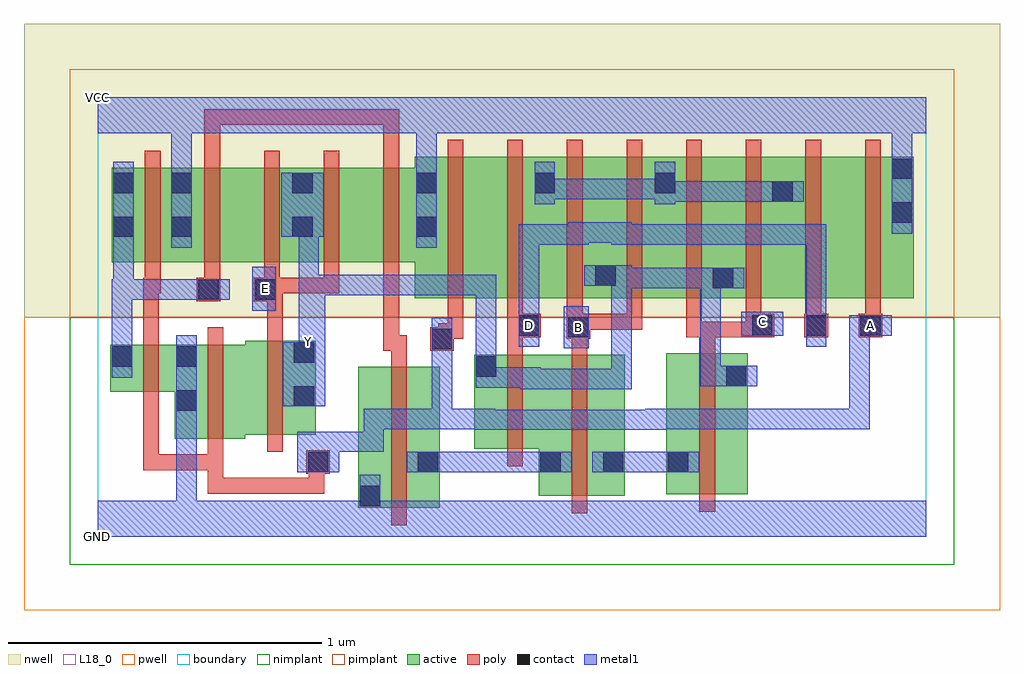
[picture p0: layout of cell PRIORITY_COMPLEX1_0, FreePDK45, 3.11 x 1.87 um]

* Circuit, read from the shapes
.subckt PRIORITY_COMPLEX1_0 A B C D E GND VCC Y
M1 GND A n1 VSUBS nfet w=0.15u l=0.05u
M2 n2 A GND VSUBS nfet w=0.3u l=0.05u
M3 Y E n2 VSUBS nfet w=0.3u l=0.05u
M4 n3 n1 GND VSUBS nfet w=0.45u l=0.05u
M5 n3 D Y VSUBS nfet w=0.3u l=0.05u
M6 n4 B n3 VSUBS nfet w=0.45u l=0.05u
M7 Y C n4 VSUBS nfet w=0.45u l=0.05u
M8 VCC A n1 n5 pfet w=0.3u l=0.05u
M9 n6 n1 VCC n5 pfet w=0.3u l=0.05u
M10 Y E n6 n5 pfet w=0.3u l=0.05u
M11 n7 E Y n5 pfet w=0.3u l=0.05u
M12 VCC n1 n7 n5 pfet w=0.3u l=0.05u
M13 n8 A VCC n5 pfet w=0.45u l=0.05u
M14 n9 D n8 n5 pfet w=0.45u l=0.05u
M15 Y B n9 n5 pfet w=0.45u l=0.05u m=2
M16 Y C n9 n5 pfet w=0.45u l=0.05u m=2
M17 n10 D n9 n5 pfet w=0.45u l=0.05u
M18 VCC A n10 n5 pfet w=0.45u l=0.05u
.ends

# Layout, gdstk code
import gdstk
lib = gdstk.Library(unit=1e-6, precision=1e-09)
def R(c, l, rs):  # rectangles x0, y0, x1, y1
    for r in rs: c.add(gdstk.rectangle(r[:2], r[2:], *l))
def A(c, l, x, y, w, h, nx, ny, dx, dy):  # array of equal rectangles
    R(c, l, [(x+i*dx, y+j*dy, x+i*dx+w, y+j*dy+h) for i in range(nx) for j in range(ny)])
active = (1, 0)
pwell = (2, 0)
nwell = (3, 0)
nimplant = (4, 0)
pimplant = (5, 0)
poly = (9, 0)
contact = (10, 0)
metal1 = (11, 0)
L18_0 = (18, 0)
boundary = (235, 0)

priority_complex1_0 = lib.new_cell('PRIORITY_COMPLEX1_0')
R(priority_complex1_0, active, [(0.83,0.092,1.09,0.542), (0.83,0.092,0.905,0.542), (1.405,0.13,1.68,0.58), (1.812,0.135,2.072,0.585), (1.015,0.195,1.09,0.542), (1.605,0.195,1.68,0.542), (1.812,0.195,1.887,0.585), (1.997,0.195,2.072,0.585), (1.405,0.2,1.48,0.535), (1.2,0.28,1.48,0.58), (0.245,0.312,0.47,0.612), (0.47,0.325,0.695,0.625), (0.62,0.345,0.695,0.625), (1.2,0.345,1.275,0.58), (0.245,0.397,0.32,0.612), (0.04,0.462,0.32,0.612), (0.04,0.462,0.115,0.612), (1.01,0.76,1.235,1.21), (1.235,0.76,1.462,1.21), (1.387,0.76,1.655,1.21), (1.58,0.76,1.845,1.21), (1.77,0.76,2.03,1.21), (1.955,0.76,2.22,1.21), (2.145,0.76,2.375,1.21), (2.375,0.76,2.6,1.21), (2.525,0.76,2.6,1.21), (1.955,0.787,2.03,0.94), (1.58,0.795,1.655,0.94), (1.387,0.852,1.462,1.2), (1.77,0.857,1.845,1.2), (2.145,0.857,2.22,1.2), (0.045,0.875,0.12,1.165), (0.045,0.875,0.305,1.175), (0.23,0.875,0.46,1.175), (0.46,0.875,0.69,1.175), (0.615,0.875,0.84,1.175), (0.615,0.875,0.69,1.175), (0.84,0.875,1.085,1.175), (1.01,0.875,1.085,1.165), (0.23,0.95,0.305,1.165)])
R(priority_complex1_0, pwell, [(-0.235,-0.235,2.875,0.7)])
R(priority_complex1_0, nwell, [(-0.235,0.7,2.875,1.635)])
R(priority_complex1_0, nimplant, [(-0.09,-0.09,2.73,0.7)])
R(priority_complex1_0, pimplant, [(-0.09,0.7,2.73,1.49)])
A(priority_complex1_0, poly, 1.305, 0.66, 0.05, 0.095, 3, 1, 0.19, 0)
A(priority_complex1_0, poly, 2.065, 0.66, 0.05, 0.095, 3, 1, 0.19, 0)
A(priority_complex1_0, poly, 1.115, 0.705, 0.05, 0.56, 8, 1, 0.19, 0)
A(priority_complex1_0, poly, 0.15, 0.775, 0.05, 0.095, 4, 1, 0.19, 0)
A(priority_complex1_0, poly, 0.15, 0.82, 0.05, 0.41, 5, 1, 0.19, 0)
R(priority_complex1_0, poly, [(0.935,0.037,0.985,0.597), (1.51,0.075,1.56,0.635), (1.917,0.08,1.967,0.64), (0.35,0.137,0.4,0.262), (0.35,0.137,0.532,0.187), (0.482,0.137,0.532,0.187), (0.482,0.137,0.532,0.187), (0.482,0.137,0.532,0.187), (0.482,0.137,0.722,0.187), (0.672,0.137,0.722,0.187), (0.672,0.137,0.722,0.187), (0.672,0.137,0.722,0.187), (0.672,0.137,0.722,0.25), (0.665,0.2,0.74,0.275), (0.145,0.212,0.195,0.262), (0.145,0.212,0.195,0.262), (0.145,0.212,0.195,0.262), (0.145,0.212,0.195,0.262), (0.145,0.212,0.195,0.262), (0.145,0.212,0.4,0.262), (0.145,0.212,0.195,0.457), (0.35,0.212,0.4,0.307), (1.305,0.225,1.355,0.635), (0.35,0.257,0.4,0.667), (0.54,0.27,0.59,0.68), (0.145,0.407,0.195,0.667), (0.935,0.547,0.985,0.642), (1.305,0.585,1.355,0.685), (1.51,0.585,1.56,0.68), (1.917,0.59,1.967,0.685), (0.91,0.592,0.96,0.87), (0.91,0.592,0.985,0.642), (1.06,0.592,1.135,0.667), (0.145,0.617,0.195,0.825), (1.085,0.617,1.135,0.68), (0.54,0.63,0.59,0.8), (1.085,0.63,1.135,0.68), (1.085,0.63,1.135,0.68), (1.085,0.63,1.165,0.68), (1.115,0.63,1.165,0.755), (1.495,0.63,1.57,0.71), (1.305,0.635,1.412,0.71), (1.875,0.635,1.925,0.755), (1.875,0.635,1.967,0.685), (1.917,0.635,2.115,0.685), (2.065,0.635,2.115,0.685), (2.065,0.635,2.115,0.685), (2.065,0.635,2.155,0.71), (2.252,0.635,2.327,0.71), (2.425,0.635,2.5,0.71), (1.52,0.66,1.57,0.71), (1.52,0.66,1.57,0.71), (1.52,0.66,1.735,0.71), (1.685,0.66,1.735,0.71), (0.315,0.75,0.39,0.825), (0.497,0.75,0.59,0.825), (0.145,0.775,0.2,0.825), (0.54,0.775,0.77,0.825), (0.72,0.775,0.77,0.825), (0.72,0.775,0.77,0.825), (0.72,0.775,0.77,0.825), (0.34,1.18,0.39,1.362), (0.91,1.18,0.96,1.362), (0.34,1.312,0.39,1.362), (0.34,1.312,0.532,1.362), (0.482,1.312,0.532,1.362), (0.482,1.312,0.532,1.362), (0.482,1.312,0.532,1.362), (0.482,1.312,0.722,1.362), (0.672,1.312,0.722,1.362), (0.672,1.312,0.722,1.362), (0.672,1.312,0.722,1.362), (0.672,1.312,0.96,1.362), (0.91,1.312,0.96,1.362), (0.91,1.312,0.96,1.362), (0.91,1.312,0.96,1.362)])
R(priority_complex1_0, contact, [(0.835,0.097,0.9,0.162), (0.67,0.205,0.735,0.27), (1.02,0.205,1.085,0.27), (1.41,0.205,1.475,0.27), (1.61,0.205,1.675,0.27), (1.817,0.205,1.882,0.27), (0.25,0.402,0.315,0.467), (0.625,0.415,0.69,0.48), (2.002,0.48,2.067,0.545), (1.205,0.51,1.27,0.575), (0.045,0.542,0.11,0.607), (0.25,0.542,0.315,0.607), (0.625,0.555,0.69,0.62), (1.065,0.597,1.13,0.662), (1.5,0.635,1.565,0.7), (1.342,0.64,1.407,0.705), (2.085,0.64,2.15,0.705), (2.257,0.64,2.322,0.705), (2.43,0.64,2.495,0.705), (0.32,0.755,0.385,0.82), (0.502,0.755,0.567,0.82), (1.96,0.792,2.025,0.857), (1.585,0.8,1.65,0.865), (0.05,0.955,0.115,1.02), (0.235,0.955,0.3,1.02), (0.62,0.955,0.685,1.02), (1.015,0.955,1.08,1.02), (2.53,1,2.595,1.065), (2.15,1.067,2.215,1.132), (0.05,1.095,0.115,1.16), (0.235,1.095,0.3,1.16), (0.62,1.095,0.685,1.16), (1.015,1.095,1.08,1.16), (1.392,1.095,1.457,1.16), (1.775,1.095,1.84,1.16), (2.53,1.14,2.595,1.205)])
R(priority_complex1_0, metal1, [(0,0,2.64,0.115), (0.25,0.05,0.315,0.115), (0.25,0.05,0.315,0.115), (0.25,0.05,0.315,0.115), (0.25,0.05,0.315,0.115), (0.25,0.05,0.315,0.432), (0.835,0.05,0.9,0.115), (0.835,0.05,0.9,0.115), (0.835,0.05,0.9,0.127), (0.835,0.062,0.9,0.197), (0.635,0.205,0.77,0.335), (0.985,0.205,1.12,0.27), (1.055,0.205,1.12,0.27), (1.055,0.205,1.12,0.27), (1.055,0.205,1.27,0.27), (1.205,0.205,1.27,0.27), (1.205,0.205,1.27,0.27), (1.205,0.205,1.27,0.27), (1.205,0.205,1.44,0.27), (1.375,0.205,1.51,0.27), (1.575,0.205,1.71,0.27), (1.645,0.205,1.71,0.27), (1.645,0.205,1.71,0.27), (1.645,0.205,1.847,0.27), (1.782,0.205,1.917,0.27), (0.705,0.27,0.912,0.335), (0.847,0.27,0.912,0.335), (0.847,0.27,0.912,0.407), (1.202,0.34,1.267,0.405), (1.202,0.34,1.267,0.405), (1.202,0.34,1.267,0.407), (1.202,0.34,1.477,0.405), (1.412,0.34,1.477,0.405), (1.412,0.34,1.565,0.405), (1.5,0.34,1.565,0.405), (1.5,0.34,1.702,0.405), (1.637,0.34,1.702,0.405), (1.637,0.34,1.81,0.405), (1.745,0.34,1.81,0.407), (0.847,0.342,0.912,0.407), (0.847,0.342,0.912,0.407), (0.847,0.342,0.912,0.407), (0.847,0.342,1.13,0.407), (1.065,0.342,1.13,0.407), (1.065,0.342,1.13,0.407), (1.065,0.342,1.267,0.407), (1.065,0.342,1.13,0.697), (1.745,0.342,1.847,0.407), (1.782,0.342,1.847,0.407), (1.782,0.342,1.977,0.407), (1.912,0.342,1.977,0.407), (1.912,0.342,2.042,0.407), (1.977,0.342,2.042,0.407), (1.977,0.342,2.135,0.407), (2.07,0.342,2.135,0.407), (2.07,0.342,2.322,0.407), (2.257,0.342,2.322,0.407), (2.257,0.342,2.322,0.407), (2.257,0.342,2.322,0.407), (2.257,0.342,2.322,0.407), (2.257,0.342,2.322,0.407), (2.257,0.342,2.46,0.407), (2.395,0.342,2.46,0.407), (2.395,0.342,2.46,0.705), (0.25,0.367,0.315,0.642), (0.59,0.415,0.725,0.62), (1.347,0.47,1.565,0.535), (1.347,0.47,1.412,0.54), (1.5,0.47,1.565,0.535), (1.5,0.47,1.702,0.535), (1.637,0.47,1.702,0.535), (1.637,0.47,1.702,0.545), (1.205,0.475,1.27,0.54), (1.205,0.475,1.27,0.54), (1.205,0.475,1.412,0.54), (1.205,0.475,1.27,0.835), (1.637,0.48,1.702,0.545), (1.637,0.48,1.702,0.865), (1.92,0.48,1.985,0.857), (1.92,0.48,2.102,0.545), (0.045,0.507,0.11,0.642), (0.64,0.555,0.705,0.62), (0.64,0.555,0.705,0.69), (0.66,0.555,0.725,0.62), (0.66,0.555,0.725,0.835), (0.045,0.577,0.11,0.82), (1.485,0.6,1.565,0.735), (1.342,0.605,1.407,0.74), (2.257,0.605,2.322,0.74), (0.64,0.625,0.705,1.02), (2.05,0.64,2.185,0.717), (2.395,0.64,2.46,0.705), (2.395,0.64,2.46,0.705), (2.395,0.64,2.53,0.705), (1.342,0.675,1.407,0.74), (1.342,0.675,1.407,0.74), (1.342,0.675,1.407,0.74), (1.342,0.675,1.407,0.74), (1.342,0.675,1.407,0.995), (2.257,0.675,2.322,0.74), (2.257,0.675,2.322,0.74), (2.257,0.675,2.322,0.74), (2.257,0.675,2.322,0.74), (2.257,0.675,2.322,0.995), (0.492,0.72,0.567,0.86), (0.045,0.755,0.115,0.82), (0.05,0.755,0.115,0.82), (0.05,0.755,0.115,0.82), (0.05,0.755,0.35,0.82), (0.05,0.755,0.115,0.985), (0.285,0.755,0.35,0.82), (0.285,0.755,0.35,0.82), (0.285,0.755,0.42,0.82), (0.66,0.77,0.912,0.835), (0.847,0.77,0.912,0.835), (0.847,0.77,0.912,0.835), (0.847,0.77,0.912,0.835), (0.847,0.77,1.13,0.835), (1.065,0.77,1.13,0.835), (1.065,0.77,1.13,0.835), (1.065,0.77,1.13,0.835), (1.065,0.77,1.27,0.835), (1.637,0.792,1.847,0.857), (1.637,0.792,1.702,0.865), (1.782,0.792,1.847,0.857), (1.782,0.792,1.977,0.857), (1.912,0.792,1.977,0.857), (1.912,0.792,1.985,0.857), (1.92,0.792,1.985,0.857), (1.92,0.792,1.985,0.857), (1.92,0.792,2.06,0.857), (1.55,0.8,1.702,0.865), (1.637,0.8,1.702,0.865), (0.05,0.92,0.115,1.195), (0.235,0.92,0.3,1.195), (1.015,0.92,1.08,1.195), (1.342,0.93,1.407,0.995), (1.342,0.93,1.565,0.995), (1.5,0.93,1.565,1.002), (1.637,0.93,1.847,0.995), (1.637,0.93,1.702,1.002), (1.782,0.93,1.847,0.995), (1.782,0.93,1.977,0.995), (1.912,0.93,1.977,0.995), (1.912,0.93,1.985,0.995), (1.92,0.93,1.985,0.995), (1.92,0.93,2.167,0.995), (2.102,0.93,2.167,0.995), (2.102,0.93,2.322,0.995), (2.257,0.93,2.322,0.995), (1.5,0.937,1.702,1.002), (1.637,0.937,1.702,1.002), (1.637,0.937,1.702,1.002), (0.585,0.955,0.72,1.16), (2.53,0.965,2.595,1.24), (1.392,1.06,1.457,1.195), (1.775,1.06,1.84,1.195), (1.775,1.067,1.977,1.132), (1.912,1.067,1.977,1.132), (1.912,1.067,2.042,1.132), (1.977,1.067,2.042,1.132), (1.977,1.067,2.18,1.132), (2.115,1.067,2.18,1.132), (2.115,1.067,2.18,1.132), (2.115,1.067,2.25,1.132), (1.392,1.075,1.565,1.14), (1.5,1.075,1.565,1.14), (1.5,1.075,1.702,1.14), (1.637,1.075,1.702,1.14), (1.637,1.075,1.84,1.14), (1.775,1.075,1.84,1.14), (1.775,1.075,1.84,1.14), (0.235,1.13,0.3,1.195), (0.235,1.13,0.3,1.195), (0.235,1.13,0.3,1.35), (1.015,1.13,1.08,1.35), (2.53,1.175,2.595,1.35), (0,1.285,2.64,1.4)])
R(priority_complex1_0, L18_0, [(0,0,2.64,0.115), (0.25,0.05,0.315,0.115), (0.25,0.05,0.315,0.115), (0.25,0.05,0.315,0.115), (0.25,0.05,0.315,0.115), (0.25,0.05,0.315,0.432), (0.835,0.05,0.9,0.115), (0.835,0.05,0.9,0.115), (0.835,0.05,0.9,0.127), (0.835,0.062,0.9,0.197), (0.635,0.205,0.77,0.335), (0.705,0.27,0.912,0.335), (0.847,0.27,0.912,0.335), (0.847,0.27,0.912,0.407), (1.202,0.34,1.267,0.405), (1.202,0.34,1.267,0.405), (1.202,0.34,1.267,0.407), (1.202,0.34,1.477,0.405), (1.412,0.34,1.477,0.405), (1.412,0.34,1.565,0.405), (1.5,0.34,1.565,0.405), (1.5,0.34,1.702,0.405), (1.637,0.34,1.702,0.405), (1.637,0.34,1.81,0.405), (1.745,0.34,1.81,0.407), (0.847,0.342,0.912,0.407), (0.847,0.342,0.912,0.407), (0.847,0.342,0.912,0.407), (0.847,0.342,1.13,0.407), (1.065,0.342,1.13,0.407), (1.065,0.342,1.13,0.407), (1.065,0.342,1.13,0.697), (1.065,0.342,1.267,0.407), (1.745,0.342,1.847,0.407), (1.782,0.342,1.847,0.407), (1.782,0.342,1.977,0.407), (1.912,0.342,1.977,0.407), (1.912,0.342,2.042,0.407), (1.977,0.342,2.042,0.407), (1.977,0.342,2.135,0.407), (2.07,0.342,2.135,0.407), (2.07,0.342,2.322,0.407), (2.257,0.342,2.322,0.407), (2.257,0.342,2.322,0.407), (2.257,0.342,2.322,0.407), (2.257,0.342,2.322,0.407), (2.257,0.342,2.322,0.407), (2.257,0.342,2.46,0.407), (2.395,0.342,2.46,0.407), (2.395,0.342,2.46,0.705), (0.25,0.367,0.315,0.642), (0.59,0.415,0.725,0.62), (1.347,0.47,1.412,0.54), (1.347,0.47,1.565,0.535), (1.5,0.47,1.565,0.535), (1.5,0.47,1.702,0.535), (1.637,0.47,1.702,0.535), (1.637,0.47,1.702,0.545), (1.205,0.475,1.27,0.54), (1.205,0.475,1.27,0.54), (1.205,0.475,1.412,0.54), (1.205,0.475,1.27,0.835), (1.637,0.48,1.702,0.545), (1.637,0.48,1.702,0.865), (1.92,0.48,2.102,0.545), (1.92,0.48,1.985,0.857), (0.64,0.555,0.705,0.62), (0.64,0.555,0.705,0.69), (0.66,0.555,0.725,0.62), (0.66,0.555,0.725,0.835), (0.64,0.59,0.705,0.655), (1.485,0.6,1.565,0.735), (1.342,0.605,1.407,0.74), (2.257,0.605,2.322,0.74), (0.64,0.625,0.705,1.02), (1.5,0.635,1.565,0.7), (1.342,0.64,1.407,0.705), (2.05,0.64,2.185,0.717), (2.395,0.64,2.46,0.705), (2.395,0.64,2.46,0.705), (2.395,0.64,2.53,0.705), (2.43,0.64,2.495,0.705), (2.085,0.652,2.15,0.717), (1.342,0.675,1.407,0.74), (1.342,0.675,1.407,0.74), (1.342,0.675,1.407,0.74), (1.342,0.675,1.407,0.74), (1.342,0.675,1.407,0.995), (2.257,0.675,2.322,0.74), (2.257,0.675,2.322,0.74), (2.257,0.675,2.322,0.74), (2.257,0.675,2.322,0.74), (2.257,0.675,2.322,0.995), (0.492,0.72,0.567,0.86), (0.502,0.76,0.567,0.825), (0.66,0.77,0.912,0.835), (0.847,0.77,0.912,0.835), (0.847,0.77,0.912,0.835), (0.847,0.77,0.912,0.835), (0.847,0.77,1.13,0.835), (1.065,0.77,1.13,0.835), (1.065,0.77,1.13,0.835), (1.065,0.77,1.13,0.835), (1.065,0.77,1.27,0.835), (1.637,0.792,1.702,0.865), (1.637,0.792,1.847,0.857), (1.782,0.792,1.847,0.857), (1.782,0.792,1.977,0.857), (1.912,0.792,1.977,0.857), (1.912,0.792,1.985,0.857), (1.92,0.792,1.985,0.857), (1.92,0.792,1.985,0.857), (1.92,0.792,2.06,0.857), (1.55,0.8,1.702,0.865), (1.637,0.8,1.702,0.865), (0.235,0.92,0.3,1.195), (1.015,0.92,1.08,1.195), (1.342,0.93,1.407,0.995), (1.342,0.93,1.565,0.995), (1.5,0.93,1.565,1.002), (1.637,0.93,1.702,1.002), (1.637,0.93,1.847,0.995), (1.782,0.93,1.847,0.995), (1.782,0.93,1.977,0.995), (1.912,0.93,1.977,0.995), (1.912,0.93,1.985,0.995), (1.92,0.93,1.985,0.995), (1.92,0.93,2.167,0.995), (2.102,0.93,2.167,0.995), (2.102,0.93,2.322,0.995), (2.257,0.93,2.322,0.995), (1.5,0.937,1.702,1.002), (1.637,0.937,1.702,1.002), (1.637,0.937,1.702,1.002), (0.585,0.955,0.72,1.16), (2.53,0.965,2.595,1.24), (0.235,1.13,0.3,1.195), (0.235,1.13,0.3,1.195), (0.235,1.13,0.3,1.35), (1.015,1.13,1.08,1.35), (2.53,1.175,2.595,1.35), (0,1.285,2.64,1.4)])
R(priority_complex1_0, boundary, [(0,0,2.64,1.4)])
priority_complex1_0.add(gdstk.Label('A', (2.462,0.672), layer=11, texttype=0))
priority_complex1_0.add(gdstk.Label('B', (1.532,0.667), layer=11, texttype=0))
priority_complex1_0.add(gdstk.Label('C', (2.117,0.685), layer=11, texttype=0))
priority_complex1_0.add(gdstk.Label('D', (1.375,0.672), layer=11, texttype=0))
priority_complex1_0.add(gdstk.Label('E', (0.535,0.792), layer=11, texttype=0))
priority_complex1_0.add(gdstk.Label('Y', (0.672,0.622), layer=11, texttype=0))
priority_complex1_0.add(gdstk.Label('VCC', (0,1.4), layer=11, texttype=0))
priority_complex1_0.add(gdstk.Label('GND', (0,0), layer=11, texttype=0))

lib.write_gds('PRIORITY_COMPLEX1_0.gds')
